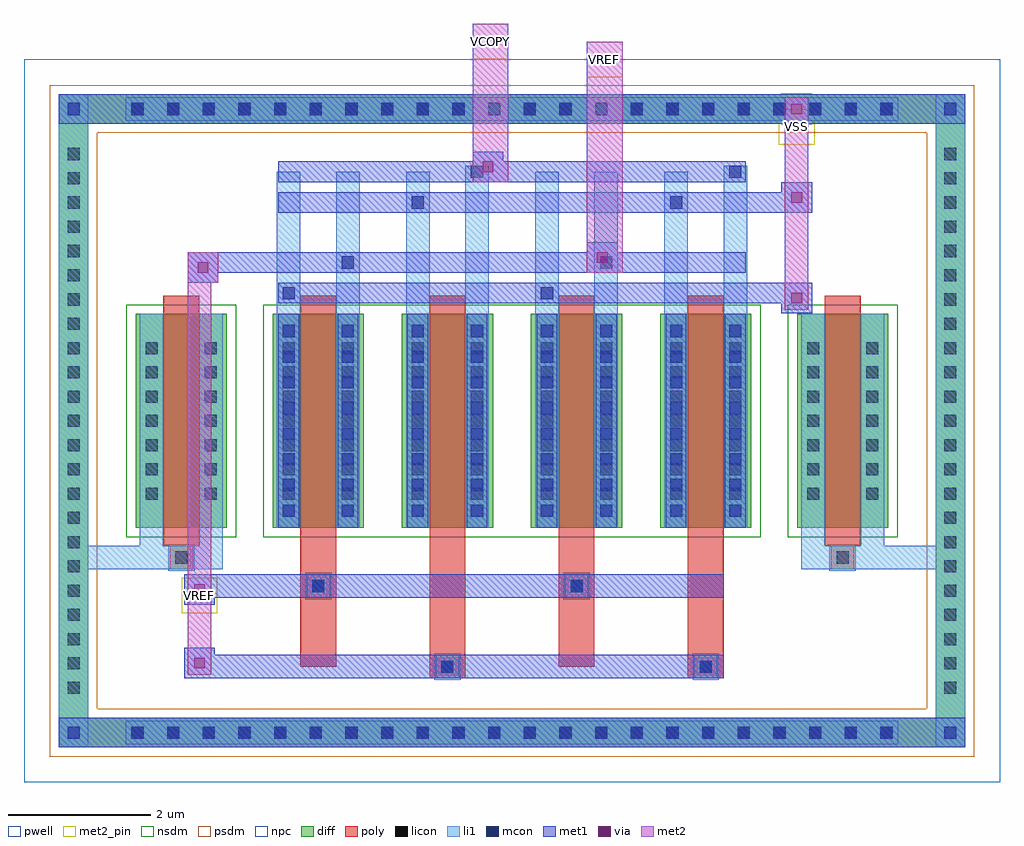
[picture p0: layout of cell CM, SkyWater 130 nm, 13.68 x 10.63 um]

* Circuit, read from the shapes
.subckt CM VCOPY VREF VSS
XM1 VSS VSS VSS VSUBS sky130_fd_pr__nfet_01v8 w=3 l=0.5 m=2
XM2 VREF VREF VSS VSUBS sky130_fd_pr__nfet_01v8 w=3 l=0.5 m=2
XM3 VCOPY VREF VSS VSUBS sky130_fd_pr__nfet_01v8 w=3 l=0.5 m=2
.ends

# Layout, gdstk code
import gdstk
lib = gdstk.Library(unit=1e-6, precision=5e-09)
def R(c, l, rs):  # rectangles x0, y0, x1, y1
    for r in rs: c.add(gdstk.rectangle(r[:2], r[2:], *l))
def A(c, l, x, y, w, h, nx, ny, dx, dy):  # array of equal rectangles
    R(c, l, [(x+i*dx, y+j*dy, x+i*dx+w, y+j*dy+h) for i in range(nx) for j in range(ny)])
def P(c, l, *ps):  # polygons
    for p in ps: c.add(gdstk.Polygon(p, *l))
pwell = (64, 44)
diff = (65, 20)
poly = (66, 20)
licon = (66, 44)
li1 = (67, 20)
mcon = (67, 44)
met1 = (68, 20)
via = (68, 44)
met2_pin = (69, 16)
met2 = (69, 20)
nsdm = (93, 44)
psdm = (94, 20)
npc = (95, 20)

c_cm = lib.new_cell('CM')
R(c_cm, pwell, [(-6.84,-5.065,6.84,5.065), (-6.66,-4.885,6.66,4.885)])
A(c_cm, diff, -5.455, -4.575, 0.41, 0.41, 22, 2, 0.5, 8.74)
A(c_cm, diff, -6.35, -3.945, 0.41, 0.41, 1, 23, 0, 0.34)
A(c_cm, diff, 5.94, -3.945, 0.41, 0.41, 1, 23, 0, 0.34)
A(c_cm, diff, -3.355, -1.5, 1.28, 3, 4, 1, 1.81, 0)
R(c_cm, diff, [(-5.455,-4.575,5.455,-4.165), (-6.35,-3.945,-5.94,3.945), (5.94,-3.945,6.35,3.945), (-5.275,-1.5,-3.995,1.5), (3.995,-1.5,5.275,1.5), (-5.455,4.165,5.455,4.575)])
P(c_cm, diff, [(6.35,4.575),(-6.35,4.575),(-6.35,-4.165),(-5.94,-4.165),(-5.94,4.165),(5.94,4.165),(5.94,-4.165),(-5.94,-4.165),(-6.35,-4.165),(-6.35,-4.575),(6.35,-4.575)])
A(c_cm, poly, -2.965, -1.75, 0.5, 3.5, 4, 1, 1.81, 0)
R(c_cm, poly, [(-1.155,-3.61,-0.655,-3.28), (-1.07,-3.61,-0.74,-3.28), (2.465,-3.61,2.965,-3.28), (2.55,-3.61,2.88,-3.28), (-2.965,-3.445,-2.465,-1.75), (0.655,-3.445,1.155,-1.75), (-1.155,-3.28,-0.655,-1.75), (2.465,-3.28,2.965,-1.75), (-2.965,-2.48,-2.465,-2.15), (-2.88,-2.48,-2.55,-2.15), (0.655,-2.48,1.155,-2.15), (0.74,-2.48,1.07,-2.15), (-2.965,-2.15,-2.465,-1.75), (0.655,-2.15,1.155,-1.75), (-4.8,-2.08,-4.47,-1.75), (-4.8,-2.08,-4.47,-1.75), (4.47,-2.08,4.8,-1.75), (4.47,-2.08,4.8,-1.75), (-4.885,-1.75,-4.385,1.75), (4.385,-1.75,4.885,1.75)])
A(c_cm, licon, -5.335, -4.455, 0.17, 0.17, 22, 2, 0.5, 8.74)
A(c_cm, licon, -6.23, -3.825, 0.17, 0.17, 1, 23, 0, 0.34)
A(c_cm, licon, 6.06, -3.825, 0.17, 0.17, 1, 23, 0, 0.34)
A(c_cm, licon, -5.135, -1.105, 0.17, 0.17, 1, 7, 0, 0.34)
A(c_cm, licon, -4.305, -1.105, 0.17, 0.17, 1, 7, 0, 0.34)
A(c_cm, licon, -3.215, -1.105, 0.17, 0.17, 1, 7, 0, 0.34)
A(c_cm, licon, -2.385, -1.105, 0.17, 0.17, 1, 7, 0, 0.34)
A(c_cm, licon, -1.405, -1.105, 0.17, 0.17, 1, 7, 0, 0.34)
A(c_cm, licon, -0.575, -1.105, 0.17, 0.17, 1, 7, 0, 0.34)
A(c_cm, licon, 0.405, -1.105, 0.17, 0.17, 1, 7, 0, 0.34)
A(c_cm, licon, 1.235, -1.105, 0.17, 0.17, 1, 7, 0, 0.34)
A(c_cm, licon, 2.215, -1.105, 0.17, 0.17, 1, 7, 0, 0.34)
A(c_cm, licon, 3.045, -1.105, 0.17, 0.17, 1, 7, 0, 0.34)
A(c_cm, licon, 4.135, -1.105, 0.17, 0.17, 1, 7, 0, 0.34)
A(c_cm, licon, 4.965, -1.105, 0.17, 0.17, 1, 7, 0, 0.34)
R(c_cm, licon, [(-0.99,-3.53,-0.82,-3.36), (2.63,-3.53,2.8,-3.36), (-2.8,-2.4,-2.63,-2.23), (0.82,-2.4,0.99,-2.23), (-4.72,-2,-4.55,-1.83), (4.55,-2,4.72,-1.83)])
A(c_cm, li1, -5.415, -4.535, 0.33, 0.33, 22, 2, 0.5, 8.74)
A(c_cm, li1, -6.31, -3.905, 0.33, 0.33, 1, 23, 0, 0.34)
A(c_cm, li1, 5.98, -3.905, 0.33, 0.33, 1, 23, 0, 0.34)
A(c_cm, li1, -3.215, -1.345, 0.17, 0.17, 1, 8, 0, 0.36)
A(c_cm, li1, -2.385, -1.345, 0.17, 0.17, 1, 8, 0, 0.36)
A(c_cm, li1, -1.405, -1.345, 0.17, 0.17, 1, 8, 0, 0.36)
A(c_cm, li1, -0.575, -1.345, 0.17, 0.17, 1, 8, 0, 0.36)
A(c_cm, li1, 0.405, -1.345, 0.17, 0.17, 1, 8, 0, 0.36)
A(c_cm, li1, 1.235, -1.345, 0.17, 0.17, 1, 8, 0, 0.36)
A(c_cm, li1, 2.215, -1.345, 0.17, 0.17, 1, 8, 0, 0.36)
A(c_cm, li1, 3.045, -1.345, 0.17, 0.17, 1, 8, 0, 0.36)
A(c_cm, li1, -5.215, -1.185, 0.33, 0.33, 1, 7, 0, 0.34)
A(c_cm, li1, -4.385, -1.185, 0.33, 0.33, 1, 7, 0, 0.34)
A(c_cm, li1, -3.295, -1.185, 0.33, 0.33, 1, 7, 0, 0.34)
A(c_cm, li1, -2.465, -1.185, 0.33, 0.33, 1, 7, 0, 0.34)
A(c_cm, li1, -1.485, -1.185, 0.33, 0.33, 1, 7, 0, 0.34)
A(c_cm, li1, -0.655, -1.185, 0.33, 0.33, 1, 7, 0, 0.34)
A(c_cm, li1, 0.325, -1.185, 0.33, 0.33, 1, 7, 0, 0.34)
A(c_cm, li1, 1.155, -1.185, 0.33, 0.33, 1, 7, 0, 0.34)
A(c_cm, li1, 2.135, -1.185, 0.33, 0.33, 1, 7, 0, 0.34)
A(c_cm, li1, 2.965, -1.185, 0.33, 0.33, 1, 7, 0, 0.34)
A(c_cm, li1, 4.055, -1.185, 0.33, 0.33, 1, 7, 0, 0.34)
A(c_cm, li1, 4.885, -1.185, 0.33, 0.33, 1, 7, 0, 0.34)
R(c_cm, li1, [(-6.35,-4.575,-5.94,-4.165), (5.94,-4.575,6.35,-4.165), (-5.415,-4.535,5.415,-4.205), (-6.23,-4.455,-6.06,-4.285), (-6.23,-4.455,-6.06,-4.285), (6.06,-4.455,6.23,-4.285), (6.06,-4.455,6.23,-4.285), (-6.35,-4.165,-5.94,4.165), (5.94,-4.165,6.35,4.165), (-1.07,-3.61,-0.74,-3.28), (2.55,-3.61,2.88,-3.28), (-2.88,-2.48,-2.55,-2.15), (0.74,-2.48,1.07,-2.15), (-6.35,-2.08,-4.8,-1.75), (-5.215,-2.08,-4.8,-1.75), (-5.215,-2.08,-4.885,-1.5), (-4.8,-2.08,-4.47,-1.75), (-4.47,-2.08,-4.055,-1.75), (-4.385,-2.08,-4.055,-1.5), (4.055,-2.08,4.47,-1.75), (4.055,-2.08,4.385,-1.5), (4.47,-2.08,4.8,-1.75), (4.8,-2.08,5.215,-1.75), (4.8,-2.08,6.35,-1.75), (4.885,-2.08,5.215,-1.5), (-5.215,-1.5,-4.885,1.5), (-4.385,-1.5,-4.055,1.5), (-3.295,-1.5,-2.965,1.5), (-2.465,-1.5,-2.135,1.5), (-1.485,-1.5,-1.155,1.5), (-0.655,-1.5,-0.325,1.5), (0.325,-1.5,0.655,1.5), (1.155,-1.5,1.485,1.5), (2.135,-1.5,2.465,1.5), (2.965,-1.5,3.295,1.5), (4.055,-1.5,4.385,1.5), (4.885,-1.5,5.215,1.5), (-3.215,-1.345,-3.045,1.345), (-2.385,-1.345,-2.215,1.345), (-1.405,-1.345,-1.235,1.345), (-0.575,-1.345,-0.405,1.345), (0.405,-1.345,0.575,1.345), (1.235,-1.345,1.405,1.345), (2.215,-1.345,2.385,1.345), (3.045,-1.345,3.215,1.345), (-3.295,1.5,-2.965,1.875), (-3.295,1.5,-2.965,3.49), (-2.465,1.5,-2.135,2.305), (-2.465,1.5,-2.135,3.49), (-1.485,1.5,-1.155,3.145), (-1.485,1.5,-1.155,3.49), (-0.655,1.5,-0.325,3.575), (-0.655,1.5,-0.325,3.49), (0.325,1.5,0.655,1.875), (0.325,1.5,0.655,3.49), (1.155,1.5,1.485,2.305), (1.155,1.5,1.485,3.49), (2.135,1.5,2.465,3.145), (2.135,1.5,2.465,3.49), (2.965,1.5,3.295,3.575), (2.965,1.5,3.295,3.49), (-3.215,1.705,-3.045,1.875), (0.405,1.705,0.575,1.875), (-2.385,2.135,-2.215,2.305), (1.235,2.135,1.405,2.305), (-1.405,2.975,-1.235,3.145), (2.215,2.975,2.385,3.145), (-0.575,3.405,-0.405,3.575), (3.045,3.405,3.215,3.575), (-6.35,4.165,-5.94,4.575), (5.94,4.165,6.35,4.575), (-5.415,4.205,5.415,4.535), (-6.23,4.285,-6.06,4.455), (-6.23,4.285,-6.06,4.455), (6.06,4.285,6.23,4.455), (6.06,4.285,6.23,4.455)])
A(c_cm, mcon, -5.335, -4.455, 0.17, 0.17, 22, 2, 0.5, 8.74)
A(c_cm, mcon, -3.215, -1.345, 0.17, 0.17, 1, 8, 0, 0.36)
A(c_cm, mcon, -2.385, -1.345, 0.17, 0.17, 1, 8, 0, 0.36)
A(c_cm, mcon, -1.405, -1.345, 0.17, 0.17, 1, 8, 0, 0.36)
A(c_cm, mcon, -0.575, -1.345, 0.17, 0.17, 1, 8, 0, 0.36)
A(c_cm, mcon, 0.405, -1.345, 0.17, 0.17, 1, 8, 0, 0.36)
A(c_cm, mcon, 1.235, -1.345, 0.17, 0.17, 1, 8, 0, 0.36)
A(c_cm, mcon, 2.215, -1.345, 0.17, 0.17, 1, 8, 0, 0.36)
A(c_cm, mcon, 3.045, -1.345, 0.17, 0.17, 1, 8, 0, 0.36)
R(c_cm, mcon, [(-6.23,-4.455,-6.06,-4.285), (6.06,-4.455,6.23,-4.285), (-0.99,-3.53,-0.82,-3.36), (2.63,-3.53,2.8,-3.36), (-2.8,-2.4,-2.63,-2.23), (0.82,-2.4,0.99,-2.23), (-3.215,1.705,-3.045,1.875), (0.405,1.705,0.575,1.875), (-2.385,2.135,-2.215,2.305), (1.235,2.135,1.405,2.305), (-1.405,2.975,-1.235,3.145), (2.215,2.975,2.385,3.145), (-0.575,3.405,-0.405,3.575), (3.045,3.405,3.215,3.575), (-6.23,4.285,-6.06,4.455), (6.06,4.285,6.23,4.455)])
A(c_cm, met1, -5.395, -4.515, 0.29, 0.29, 22, 2, 0.5, 8.74)
A(c_cm, met1, -3.275, -1.405, 0.29, 0.29, 1, 8, 0, 0.36)
A(c_cm, met1, -2.445, -1.405, 0.29, 0.29, 1, 8, 0, 0.36)
A(c_cm, met1, -1.465, -1.405, 0.29, 0.29, 1, 8, 0, 0.36)
A(c_cm, met1, -0.635, -1.405, 0.29, 0.29, 1, 8, 0, 0.36)
A(c_cm, met1, 0.345, -1.405, 0.29, 0.29, 1, 8, 0, 0.36)
A(c_cm, met1, 1.175, -1.405, 0.29, 0.29, 1, 8, 0, 0.36)
A(c_cm, met1, 2.155, -1.405, 0.29, 0.29, 1, 8, 0, 0.36)
A(c_cm, met1, 2.985, -1.405, 0.29, 0.29, 1, 8, 0, 0.36)
R(c_cm, met1, [(-6.35,-4.575,-5.94,-4.165), (-6.35,-4.575,-5.94,-4.165), (-5.94,-4.575,5.94,-4.165), (5.94,-4.575,6.35,-4.165), (5.94,-4.575,6.35,-4.165), (-6.29,-4.515,-6,-4.225), (6,-4.515,6.29,-4.225), (-4.595,-3.61,-4.165,-3.18), (-4.595,-3.61,-2.965,-3.28), (-2.965,-3.61,2.965,-3.28), (-1.155,-3.61,-0.655,-3.28), (2.465,-3.61,2.965,-3.28), (-1.05,-3.59,-0.76,-3.3), (2.57,-3.59,2.86,-3.3), (-4.595,-2.58,-4.165,-2.15), (-4.595,-2.48,-2.965,-2.15), (-2.965,-2.48,-2.465,-2.15), (-2.965,-2.48,2.965,-2.15), (0.655,-2.48,1.155,-2.15), (-2.86,-2.46,-2.57,-2.17), (0.76,-2.46,1.05,-2.17), (-3.275,-1.5,-2.985,1.5), (-2.445,-1.5,-2.155,1.5), (-1.465,-1.5,-1.175,1.5), (-0.635,-1.5,-0.345,1.5), (0.345,-1.5,0.635,1.5), (1.175,-1.5,1.465,1.5), (2.155,-1.5,2.445,1.5), (2.985,-1.5,3.275,1.5), (3.775,1.505,4.205,1.935), (3.775,1.505,4.205,1.935), (-3.275,1.645,-2.985,1.935), (-3.275,1.645,-2.155,1.935), (-3.275,1.645,3.275,1.935), (0.345,1.645,0.635,1.935), (0.345,1.645,1.465,1.935), (3.275,1.645,4.205,1.935), (-4.545,1.935,-4.115,2.365), (-4.545,1.935,-4.115,2.365), (-4.545,2.075,-3.275,2.365), (-3.275,2.075,-2.155,2.365), (-3.275,2.075,3.275,2.365), (-3.275,2.075,1.55,2.365), (-2.445,2.075,-2.155,2.365), (0.345,2.075,1.465,2.365), (1.05,2.075,1.48,2.505), (1.05,2.075,1.48,2.505), (1.175,2.075,1.465,2.365), (-3.275,2.915,3.275,3.205), (-1.465,2.915,-1.175,3.205), (-1.465,2.915,-0.345,3.205), (2.155,2.915,2.445,3.205), (2.155,2.915,3.275,3.205), (3.275,2.915,4.205,3.205), (3.775,2.915,4.205,3.345), (3.775,2.915,4.205,3.345), (-3.275,3.345,3.275,3.635), (-1.465,3.345,-0.345,3.635), (-1.465,3.345,-0.05,3.635), (-0.635,3.345,-0.345,3.635), (-0.55,3.345,-0.12,3.775), (-0.55,3.345,-0.12,3.775), (2.155,3.345,3.275,3.635), (2.985,3.345,3.275,3.635), (3.775,4.155,4.205,4.585), (-6.35,4.165,-5.94,4.575), (-6.35,4.165,-5.94,4.575), (-5.94,4.165,5.94,4.575), (5.94,4.165,6.35,4.575), (5.94,4.165,6.35,4.575), (-6.29,4.225,-6,4.515), (6,4.225,6.29,4.515)])
R(c_cm, via, [(-4.455,-3.47,-4.305,-3.32), (-4.455,-2.44,-4.305,-2.29), (3.915,1.645,4.065,1.795), (-4.405,2.075,-4.255,2.225), (1.19,2.215,1.34,2.365), (3.915,3.055,4.065,3.205), (-0.41,3.485,-0.26,3.635), (3.915,4.295,4.065,4.445)])
R(c_cm, met2_pin, [(-4.63,-2.7,-4.13,-2.2), (3.74,3.87,4.24,4.37), (1.05,4.815,1.55,5.315), (-0.55,5.065,-0.05,5.565)])
R(c_cm, met2, [(-4.545,-3.56,-4.215,-3.23), (-4.545,-3.56,-4.215,2.365), (-4.545,-3.56,-4.215,-2.2), (-4.545,-2.53,-4.215,-2.2), (3.825,1.555,4.155,1.885), (3.825,1.555,4.155,3.295), (-4.545,1.935,-4.115,2.365), (-4.495,1.985,-4.165,2.315), (1.05,2.075,1.48,2.505), (1.05,2.075,1.55,4.815), (1.1,2.125,1.43,2.455), (3.825,2.965,4.155,3.295), (3.825,3.295,4.155,4.37), (-0.55,3.345,-0.12,3.775), (-0.55,3.345,-0.05,5.065), (-0.5,3.395,-0.17,3.725), (3.825,4.205,4.155,4.535), (1.05,4.815,1.55,5.315), (-0.55,5.065,-0.05,5.565)])
P(c_cm, met2, [(4.155,1.555),(4.155,1.555),(4.155,1.885),(4.155,1.885)],
  [(4.155,2.965),(4.155,2.965),(4.155,3.295),(4.155,3.295)],
  [(-4.215,-3.56),(-4.215,-3.56),(-4.215,-3.23),(-4.215,-3.23)],
  [(-4.215,-2.53),(-4.215,-2.53),(-4.215,-2.2),(-4.215,-2.2)])
A(c_cm, nsdm, -3.485, -1.63, 1.54, 3.26, 4, 1, 1.81, 0)
R(c_cm, nsdm, [(-5.405,-1.63,-3.865,1.63), (-3.485,-1.63,3.485,1.63), (3.865,-1.63,5.405,1.63)])
P(c_cm, psdm, [(6.48,4.705),(-6.48,4.705),(-6.48,-4.035),(-5.81,-4.035),(-5.81,4.035),(5.81,4.035),(5.81,-4.035),(-5.81,-4.035),(-6.48,-4.035),(-6.48,-4.705),(6.48,-4.705)])
R(c_cm, npc, [(-1.09,-3.63,-0.72,-3.26), (-1.09,-3.63,-0.72,-3.26), (2.53,-3.63,2.9,-3.26), (-2.9,-2.5,-2.53,-2.13), (0.72,-2.5,1.09,-2.13), (0.72,-2.5,1.09,-2.13), (-4.82,-2.1,-4.45,-1.73), (4.45,-2.1,4.82,-1.73)])
c_cm.add(gdstk.Label('VREF', (1.3,5.065), layer=69, texttype=5))
c_cm.add(gdstk.Label('VSS', (3.99,4.12), layer=69, texttype=5))
c_cm.add(gdstk.Label('VCOPY', (-0.3,5.315), layer=69, texttype=5))
c_cm.add(gdstk.Label('VREF', (-4.38,-2.45), layer=69, texttype=5))

lib.write_gds('CM.gds')
